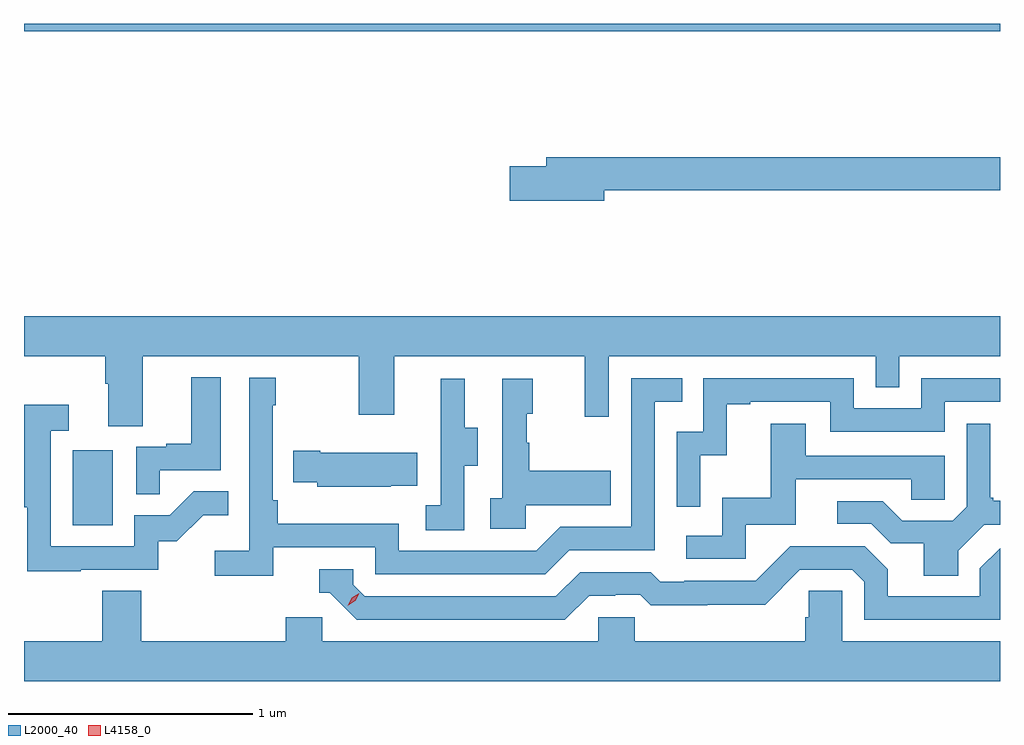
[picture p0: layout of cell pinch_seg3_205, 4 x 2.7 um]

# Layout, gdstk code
import gdstk
lib = gdstk.Library(unit=1e-6, precision=1e-09)
def R(c, l, rs):  # rectangles x0, y0, x1, y1
    for r in rs: c.add(gdstk.rectangle(r[:2], r[2:], *l))
def P(c, l, *ps):  # polygons
    for p in ps: c.add(gdstk.Polygon(p, *l))
L2000_40 = (2000, 40)
L4158_0 = (4158, 0)

pinch_seg3_205 = lib.new_cell('pinch_seg3_205')
R(pinch_seg3_205, L2000_40, [(962.966,746.844,963.13,747.151), (962.767,748.868,966.767,748.9)])
P(pinch_seg3_205, L2000_40, [(965.146,748.216),(966.767,748.216),(966.767,748.352),(964.907,748.352),(964.907,748.316),(964.758,748.316),(964.758,748.174),(965.146,748.174)],
  [(963.253,747.536),(964.138,747.536),(964.138,747.297),(964.285,747.297),(964.285,747.536),(965.066,747.536),(965.066,747.288),(965.163,747.288),(965.163,747.536),(966.258,747.536),(966.258,747.409),(966.354,747.409),(966.354,747.536),(966.767,747.536),(966.767,747.7),(962.767,747.7),(962.767,747.536),(963.101,747.536),(963.101,747.424),(963.113,747.424),(963.113,747.25),(963.253,747.25)],
  [(963.323,747.069),(963.574,747.069),(963.574,747.451),(963.452,747.451),(963.452,747.178),(963.349,747.178),(963.349,747.165),(963.228,747.165),(963.228,746.971),(963.323,746.971)],
  [(963.788,746.754),(964.206,746.754),(964.206,746.643),(964.903,746.643),(965.002,746.742),(965.352,746.742),(965.352,747.351),(965.465,747.351),(965.465,747.447),(965.256,747.447),(965.256,746.838),(964.965,746.838),(964.866,746.739),(964.302,746.739),(964.302,746.851),(963.806,746.851),(963.806,746.947),(963.786,746.947),(963.786,747.335),(963.799,747.335),(963.799,747.448),(963.69,747.448),(963.69,746.74),(963.549,746.74),(963.549,746.638),(963.788,746.638)],
  [(965.538,747.131),(965.648,747.131),(965.648,747.339),(965.743,747.339),(965.743,747.351),(966.072,747.351),(966.072,747.228),(966.54,747.228),(966.54,747.351),(966.767,747.351),(966.767,747.447),(966.444,747.447),(966.444,747.324),(966.168,747.324),(966.168,747.447),(965.55,747.447),(965.55,747.228),(965.442,747.228),(965.442,746.919),(965.538,746.919)],
  [(964.824,746.927),(965.171,746.927),(965.171,747.067),(964.837,747.067),(964.837,747.182),(964.827,747.182),(964.827,747.3),(964.852,747.3),(964.852,747.445),(964.728,747.445),(964.728,746.954),(964.677,746.954),(964.677,746.829),(964.824,746.829)],
  [(964.572,747.088),(964.627,747.088),(964.627,747.243),(964.573,747.243),(964.573,747.445),(964.475,747.445),(964.475,747.231),(964.476,747.231),(964.476,746.927),(964.413,746.927),(964.413,746.824),(964.572,746.824)],
  [(962.999,746.661),(963.318,746.661),(963.318,746.778),(963.394,746.778),(963.501,746.885),(963.605,746.885),(963.605,746.984),(963.462,746.984),(963.364,746.886),(963.219,746.886),(963.219,746.757),(962.877,746.757),(962.877,747.231),(962.95,747.231),(962.95,747.337),(962.769,747.337),(962.769,746.917),(962.781,746.917),(962.781,746.656),(962.999,746.656)],
  [(965.724,746.847),(965.929,746.847),(965.929,747.033),(966.403,747.033),(966.403,746.949),(966.54,746.949),(966.54,747.129),(965.971,747.129),(965.971,747.259),(965.827,747.259),(965.827,746.956),(965.628,746.956),(965.628,746.802),(965.481,746.802),(965.481,746.706),(965.724,746.706)],
  [(966.595,746.74),(966.702,746.847),(966.767,746.847),(966.767,746.944),(966.739,746.944),(966.739,746.956),(966.727,746.956),(966.727,747.259),(966.63,747.259),(966.63,746.919),(966.573,746.862),(966.367,746.862),(966.286,746.943),(966.099,746.943),(966.099,746.85),(966.24,746.85),(966.32,746.77),(966.455,746.77),(966.455,746.638),(966.595,746.638)],
  [(964.271,747.005),(964.379,747.005),(964.379,747.142),(963.982,747.142),(963.982,747.15),(963.871,747.15),(963.871,747.02),(963.969,747.02),(963.969,747.002),(964.271,747.002)],
  [(965.083,746.556),(965.19,746.556),(965.19,746.559),(965.293,746.559),(965.335,746.517),(965.568,746.517),(965.568,746.519),(965.804,746.519),(965.946,746.661),(966.162,746.661),(966.21,746.613),(966.21,746.457),(966.767,746.457),(966.767,746.75),(966.684,746.667),(966.684,746.553),(966.307,746.553),(966.307,746.663),(966.213,746.757),(965.907,746.757),(965.766,746.616),(965.473,746.616),(965.473,746.613),(965.374,746.613),(965.335,746.652),(965.046,746.652),(964.947,746.553),(964.164,746.553),(964.116,746.601),(964.116,746.664),(963.977,746.664),(963.977,746.568),(964.02,746.568),(964.131,746.457),(964.984,746.457)],
  [(966.767,746.368),(966.12,746.368),(966.12,746.576),(965.983,746.576),(965.983,746.466),(965.969,746.466),(965.969,746.368),(965.271,746.368),(965.271,746.466),(965.121,746.466),(965.121,746.368),(963.99,746.368),(963.99,746.466),(963.839,746.466),(963.839,746.368),(963.248,746.368),(963.248,746.576),(963.088,746.576),(963.088,746.368),(962.767,746.368),(962.767,746.204),(966.767,746.204)])
P(pinch_seg3_205, L4158_0, [(964.093,746.515),(964.093,746.515),(964.11,746.547),(964.141,746.566),(964.141,746.566),(964.141,746.566),(964.124,746.534),(964.093,746.515)])

lib.write_gds('pinch_seg3_205.gds')
